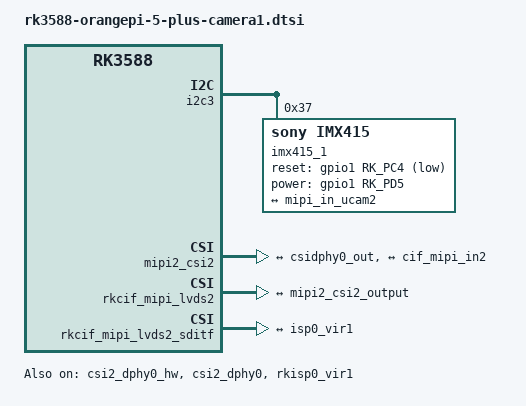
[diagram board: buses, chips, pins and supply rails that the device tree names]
// SPDX-License-Identifier: (GPL-2.0+ OR MIT)
/*
 * Copyright (c) 2021 Rockchip Electronics Co., Ltd.
 * IMX415 configuration based on working 10.5.0.202 device
 */

&csi2_dphy0_hw {
	status = "okay";
};

&csi2_dphy0 {
	status = "okay";
	ports {
		#address-cells = <1>;
		#size-cells = <0>;
		port@0 {
			reg = <0>;
			#address-cells = <1>;
			#size-cells = <0>;

			mipi_in_ucam0: endpoint@0 {
				reg = <0>;
				remote-endpoint = <&ov13850_out2>;
				data-lanes = <1 2>;
			};

			mipi_in_ucam1: endpoint@1 {
				reg = <1>;
				remote-endpoint = <&ov13855_out2>;
				data-lanes = <1 2>;
			};

			mipi_in_ucam2: endpoint@2 {
				reg = <2>;
				remote-endpoint = <&imx415_out>;
				data-lanes = <1 2 3 4>;
			};
		};
		port@1 {
		        reg = <1>;
		        #address-cells = <1>;
		        #size-cells = <0>;
		        csidphy0_out: endpoint@0 {
		                reg = <0>;
		                remote-endpoint = <&mipi2_csi2_input>;
		        };
		};
	};
};

&i2c3 {
	status = "okay";
	pinctrl-names = "default";
	pinctrl-0 = <&i2c3m0_xfer>;

	vm149c_p1: vm149c-p1@c {
		compatible = "silicon touch,vm149c";
		status = "disabled";
		reg = <0x0c>;
		rockchip,camera-module-index = <1>;
		rockchip,camera-module-facing = "back";
	};

	ov13850_1: ov13850-1@10 {
		compatible = "ovti,ov13850";
		status = "disabled";
		reg = <0x10>;
		clocks = <&cru CLK_MIPI_CAMARAOUT_M3>;
		clock-names = "xvclk";
		pinctrl-names = "default";
		pinctrl-0 = <&mipim1_camera3_clk>;
		reset-gpios = <&gpio1 RK_PC4 GPIO_ACTIVE_HIGH>;
		pwdn-gpios = <&gpio1 RK_PD5 GPIO_ACTIVE_HIGH>;
		rockchip,camera-module-index = <0>;
		rockchip,camera-module-facing = "back";
		rockchip,camera-module-name = "CMK-CT0116";
		rockchip,camera-module-lens-name = "default";
		lens-focus = <&vm149c_p1>;
		port {
			ov13850_out2: endpoint {
				remote-endpoint = <&mipi_in_ucam0>;
				data-lanes = <1 2>;
			};
		};
	};

	dw9714_p1: dw9714-p1@c {
		compatible = "dongwoon,dw9714";
		status = "disabled";
		reg = <0x0c>;
		rockchip,camera-module-index = <0>;
		rockchip,vcm-start-current = <10>;
		rockchip,vcm-rated-current = <85>;
		rockchip,vcm-step-mode = <5>;
		rockchip,camera-module-facing = "back";
	};

	ov13855_1: ov13855-1@36 {
		compatible = "ovti,ov13855";
		status = "disabled";
		reg = <0x36>;
		clocks = <&cru CLK_MIPI_CAMARAOUT_M3>;
		clock-names = "xvclk";
		pinctrl-names = "default";
		pinctrl-0 = <&mipim1_camera3_clk>;
		reset-gpios = <&gpio1 RK_PC4 GPIO_ACTIVE_HIGH>;
		pwdn-gpios = <&gpio1 RK_PD5 GPIO_ACTIVE_HIGH>;
		rockchip,camera-module-index = <0>;
		rockchip,camera-module-facing = "back";
		rockchip,camera-module-name = "CMK-OT2016-FV1";
		rockchip,camera-module-lens-name = "default";
		lens-focus = <&dw9714_p1>;
		port {
			ov13855_out2: endpoint {
				remote-endpoint = <&mipi_in_ucam1>;
				data-lanes = <1 2>;
			};
		};
	};

	/* IMX415 Camera Sensor - 基于 10.5.0.202 工作配置 */
	imx415_1: imx415@37 {
		compatible = "sony,imx415";
		status = "okay";
		reg = <0x37>;
		clocks = <&cru CLK_MIPI_CAMARAOUT_M3>;
		clock-names = "xvclk";
		pinctrl-names = "default";
		pinctrl-0 = <&mipim1_camera3_clk>;
		power-domains = <&power RK3588_PD_VI>;
		/* GPIO1_C4 for reset, GPIO1_D5 for power - 与 10.5.0.202 一致 */
		reset-gpios = <&gpio1 RK_PC4 GPIO_ACTIVE_LOW>;
		power-gpios = <&gpio1 RK_PD5 GPIO_ACTIVE_HIGH>;
		rockchip,camera-module-index = <0>;
		rockchip,camera-module-facing = "back";
		rockchip,camera-module-name = "CMK-OT2022-PX1";
		rockchip,camera-module-lens-name = "IR0147-50IRC-8M-F20";
		port {
			imx415_out: endpoint {
				remote-endpoint = <&mipi_in_ucam2>;
				data-lanes = <1 2 3 4>;
			};
		};
	};
};

&mipi2_csi2 {
	status = "okay";
	ports {
		#address-cells = <1>;
		#size-cells = <0>;
		port@0 {
			reg = <0>;
			#address-cells = <1>;
			#size-cells = <0>;
			mipi2_csi2_input: endpoint@1 {
				reg = <1>;
				remote-endpoint = <&csidphy0_out>;
			};
		};
		port@1 {
			reg = <1>;
			#address-cells = <1>;
			#size-cells = <0>;
			mipi2_csi2_output: endpoint@0 {
				reg = <0>;
				remote-endpoint = <&cif_mipi_in2>;
			};
		};
	};
};

&rkcif_mipi_lvds2 {
	status = "okay";
	port {
		cif_mipi_in2: endpoint {
			remote-endpoint = <&mipi2_csi2_output>;
		};
	};
};

&rkcif_mipi_lvds2_sditf {
	status = "okay";
	port {
		mipi2_lvds_sditf: endpoint {
			remote-endpoint = <&isp0_vir1>;
		};
	};
};

&rkisp0_vir1 {
	status = "okay";
	port {
		#address-cells = <1>;
		#size-cells = <0>;
		isp0_vir1: endpoint@0 {
			reg = <0>;
			remote-endpoint = <&mipi2_lvds_sditf>;
		};
	};
};
